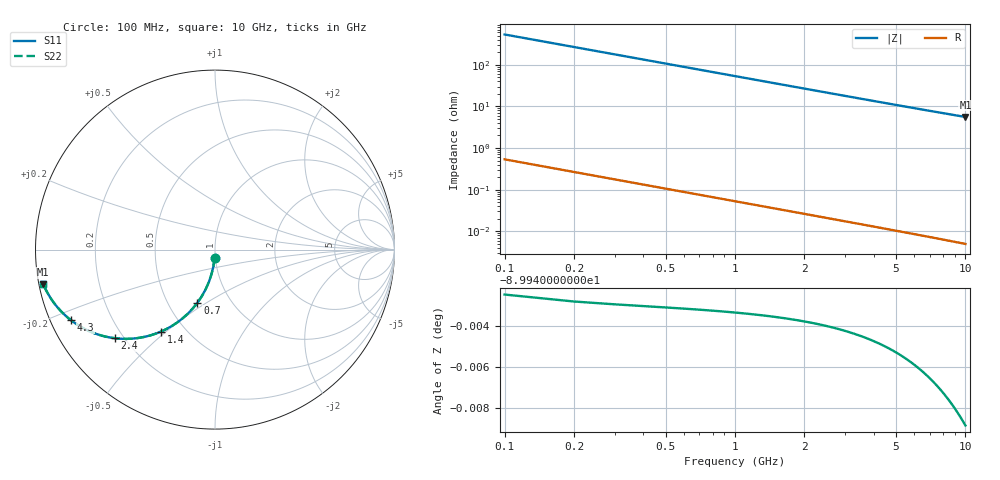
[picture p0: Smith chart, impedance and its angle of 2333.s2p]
# Hz S RI R 50.00
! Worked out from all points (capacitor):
!   100 points, 100 MHz to 10 GHz, reference 50 ohm
!   read as one part in shunt: C = 2.99 pF near 100 MHz
!   lowest |Z| = 5.58 ohm at 10 GHz (marker M1)
!   S11 on the Smith chart (normalised r, x): 100 MHz: 0.99, -0.09; 700 MHz: 0.70, -0.46; 1.4 GHz: 0.37, -0.48; 2.4 GHz: 0.17, -0.37; 4.3 GHz: 0.06, -0.23; 10 GHz: 0.01, -0.10
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1e8  -0.00223 -0.0467  0.9977 -0.0469  0.9977 -0.0469  -0.00223 -0.0467
2e8  -0.00881 -0.0928  0.9912 -0.0932  0.9912 -0.0932  -0.00881 -0.0928
3e8  -0.0195 -0.1377  0.9804 -0.1383  0.9804 -0.1383  -0.0195 -0.1377
4e8  -0.0342 -0.1809  0.9658 -0.1816  0.9658 -0.1816  -0.0342 -0.1809
5e8  -0.0523 -0.2218  0.9476 -0.2228  0.9476 -0.2228  -0.0523 -0.2218
6e8  -0.0736 -0.2601  0.9263 -0.2613  0.9263 -0.2613  -0.0736 -0.2601
7e8  -0.0976 -0.2956  0.9024 -0.2969  0.9024 -0.2969  -0.0976 -0.2956
8e8  -0.1237 -0.3279  0.8763 -0.3295  0.8763 -0.3295  -0.1237 -0.3279
1e9  -0.1805 -0.3832  0.8195 -0.3851  0.8195 -0.3851  -0.1805 -0.3832
1.2e9  -0.2406 -0.4258  0.7593 -0.4281  0.7593 -0.4281  -0.2406 -0.4258
1.4e9  -0.3012 -0.4569  0.6988 -0.4596  0.6988 -0.4596  -0.3012 -0.4569
1.8e9  -0.4157 -0.4906  0.5843 -0.4941  0.5843 -0.4941  -0.4157 -0.4906
2.1e9  -0.4916 -0.4974  0.5083 -0.5015  0.5083 -0.5015  -0.4916 -0.4974
2.4e9  -0.5579 -0.4938  0.4421 -0.4985  0.4421 -0.4985  -0.5579 -0.4938
2.9e9  -0.6478 -0.4743  0.3521 -0.48  0.3521 -0.48  -0.6478 -0.4743
3.4e9  -0.7163 -0.4469  0.2836 -0.4536  0.2836 -0.4536  -0.7163 -0.4469
3.8e9  -0.7591 -0.4233  0.2408 -0.4308  0.2408 -0.4308  -0.7591 -0.4233
4.3e9  -0.8013 -0.3943  0.1987 -0.4028  0.1987 -0.4028  -0.8013 -0.3943
5.1e9  -0.85 -0.3515  0.1499 -0.3616  0.1499 -0.3616  -0.85 -0.3515
6.7e9  -0.9072 -0.2828  0.0927 -0.2963  0.0927 -0.2963  -0.9072 -0.2828
8.4e9  -0.939 -0.2301  0.0608 -0.2471  0.0608 -0.2471  -0.939 -0.2301
1e10  -0.9563 -0.1933  0.0434 -0.2138  0.0434 -0.2138  -0.9563 -0.1933
